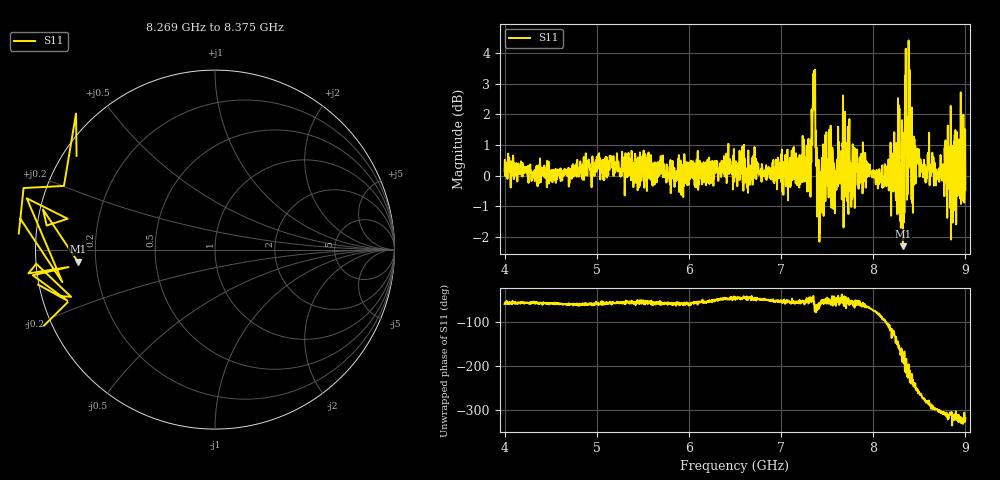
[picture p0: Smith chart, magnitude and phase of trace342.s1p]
! Created with skrf 1.8.0 (http://scikit-rf.org).
# Hz S RI R 50.0
!freq ReS11 ImS11
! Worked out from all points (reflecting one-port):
!   1601 points, 4 GHz to 9 GHz, reference 50 ohm
!   lowest |S11| = -2.3 dB at 8.322 GHz (marker M1), VSWR 7.60, Z = 6.6 - j2.17 ohm
!   phase of S11 starts at -60 deg and turns -259 deg over the sweep
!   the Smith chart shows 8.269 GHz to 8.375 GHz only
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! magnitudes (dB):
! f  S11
! 4 GHz  0.1
! 4.625 GHz  -0.2
! 5.25 GHz  0.0
! 5.875 GHz  -0.1
! 6.5 GHz  0.2
! 7.125 GHz  0.1
! 7.294 GHz  -0.5
! 7.353 GHz  2.5
! 7.369 GHz  3.5
! 7.397 GHz  -0.6
! 7.412 GHz  -0.6
! 7.512 GHz  0.5
! 7.591 GHz  -0.4
! 7.669 GHz  0.9
! 7.75 GHz  0.1
! 8.097 GHz  0.3
! 8.294 GHz  0.0
! 8.312 GHz  1.8
! 8.322 GHz  -2.3
! 8.334 GHz  0.7
! 8.347 GHz  3.3
! 8.359 GHz  0.8
! 8.375 GHz  1.7
! 8.438 GHz  -0.3
! 8.834 GHz  0.7
! 8.856 GHz  1.0
! 8.953 GHz  -0.9
! 9 GHz  -0.5
